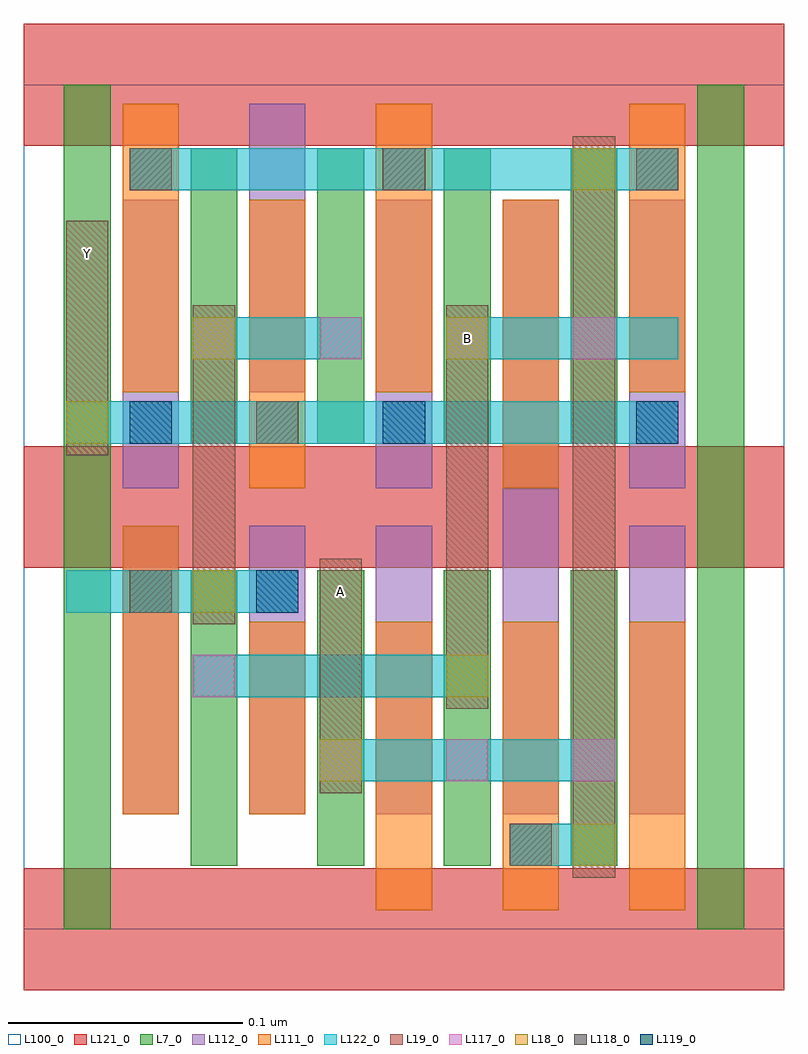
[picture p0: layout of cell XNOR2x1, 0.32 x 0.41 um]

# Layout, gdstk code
import gdstk
lib = gdstk.Library(unit=1e-6, precision=2.5e-10)
def R(c, l, rs):  # rectangles x0, y0, x1, y1
    for r in rs: c.add(gdstk.rectangle(r[:2], r[2:], *l))
def A(c, l, x, y, w, h, nx, ny, dx, dy):  # array of equal rectangles
    R(c, l, [(x+i*dx, y+j*dy, x+i*dx+w, y+j*dy+h) for i in range(nx) for j in range(ny)])
L7_0 = (7, 0)
L18_0 = (18, 0)
L19_0 = (19, 0)
L100_0 = (100, 0)
L111_0 = (111, 0)
L112_0 = (112, 0)
L117_0 = (117, 0)
L118_0 = (118, 0)
L119_0 = (119, 0)
L121_0 = (121, 0)
L122_0 = (122, 0)

xnor2x1 = lib.new_cell('XNOR2x1')
A(xnor2x1, L7_0, 0.071, 0.027, 0.02, 0.126, 4, 2, 0.054, 0.18)
R(xnor2x1, L7_0, [(0.017,0,0.037,0.18), (0.287,0,0.307,0.18), (0.017,0.18,0.037,0.36), (0.287,0.18,0.307,0.36)])
R(xnor2x1, L18_0, [(0.234,0.027,0.252,0.045), (0.126,0.063,0.144,0.081), (0.18,0.099,0.198,0.117), (0.072,0.135,0.09,0.153), (0.018,0.207,0.036,0.225), (0.072,0.243,0.09,0.261), (0.18,0.243,0.198,0.261), (0.234,0.315,0.252,0.333)])
R(xnor2x1, L19_0, [(0.234,0.022,0.252,0.338), (0.126,0.058,0.144,0.158), (0.18,0.094,0.198,0.266), (0.072,0.13,0.09,0.266), (0.018,0.202,0.036,0.302)])
R(xnor2x1, L100_0, [(0,0,0.324,0.36)])
A(xnor2x1, L111_0, 0.15, 0.008, 0.024, 0.123, 3, 1, 0.054, 0)
A(xnor2x1, L111_0, 0.042, 0.229, 0.024, 0.123, 3, 1, 0.108, 0)
R(xnor2x1, L111_0, [(0.042,0.049,0.066,0.172), (0.096,0.049,0.12,0.131), (0.096,0.188,0.12,0.311), (0.204,0.188,0.228,0.311)])
A(xnor2x1, L112_0, 0.042, 0.049, 0.024, 0.123, 3, 1, 0.054, 0)
A(xnor2x1, L112_0, 0.042, 0.188, 0.024, 0.123, 3, 1, 0.108, 0)
R(xnor2x1, L112_0, [(0.204,0.049,0.228,0.18), (0.258,0.049,0.282,0.172), (0.204,0.18,0.228,0.311), (0.096,0.229,0.12,0.352)])
A(xnor2x1, L117_0, 0.126, 0.063, 0.018, 0.018, 3, 1, 0.054, 0)
A(xnor2x1, L117_0, 0.072, 0.243, 0.018, 0.018, 4, 1, 0.054, 0)
R(xnor2x1, L117_0, [(0.072,0.099,0.09,0.117)])
A(xnor2x1, L118_0, 0.045, 0.315, 0.018, 0.018, 3, 1, 0.108, 0)
R(xnor2x1, L118_0, [(0.207,0.027,0.225,0.045), (0.045,0.135,0.063,0.153), (0.099,0.207,0.117,0.225)])
A(xnor2x1, L119_0, 0.045, 0.207, 0.018, 0.018, 3, 1, 0.108, 0)
R(xnor2x1, L119_0, [(0.099,0.135,0.117,0.153)])
A(xnor2x1, L121_0, 0, -0.026, 0.324, 0.052, 1, 3, 0, 0.18)
R(xnor2x1, L122_0, [(0.207,0.027,0.252,0.045), (0.126,0.063,0.252,0.081), (0.072,0.099,0.198,0.117), (0.018,0.135,0.117,0.153), (0.018,0.207,0.279,0.225), (0.072,0.243,0.144,0.261), (0.18,0.243,0.279,0.261), (0.045,0.315,0.279,0.333)])
xnor2x1.add(gdstk.Label('Y', (0.027,0.288), layer=19, texttype=251))
xnor2x1.add(gdstk.Label('B', (0.189,0.252), layer=19, texttype=251))
xnor2x1.add(gdstk.Label('A', (0.135,0.144), layer=19, texttype=251))

lib.write_gds('XNOR2x1.gds')
